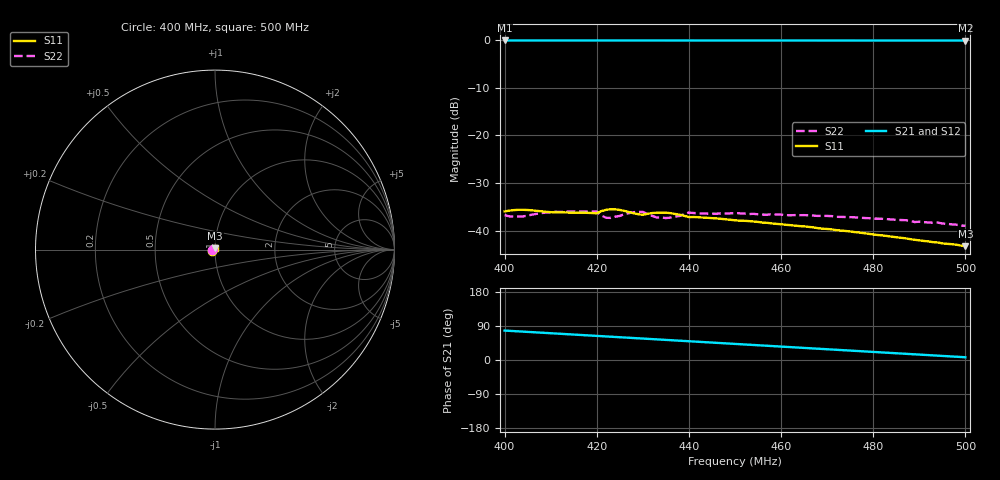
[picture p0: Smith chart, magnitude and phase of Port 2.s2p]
! RsaToolbox (C) 2014 Rohde & Schwarz America
! Number of points: 101
! Number of ports: 2
! Balanced ports?: No
# Hz S RI R 50
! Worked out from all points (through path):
!   101 points, 400 MHz to 500 MHz, reference 50 ohm
!   highest |S21| = -0.14 dB at 400 MHz (marker M1); lowest = -0.2 dB at 500 MHz (marker M2)
!   group delay of S21, straight-line fit = 1.96 ns
!   lowest |S11| = -43.2 dB at 500 MHz (marker M3), VSWR 1.01, Z = 50.1 + j0.689 ohm
!   |S11| at or under -10 dB: start of sweep to end of sweep
!   |S22| runs from -38.9 to -35.9 dB; largest |S21 - S12| = 0
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4e8  -0.0144 -0.00708  0.2098 0.9617  0.2098 0.9617  -0.0146 -0.000773
4.04e8  -0.0158 -0.00535  0.2569 0.9501  0.2569 0.9501  -0.014 -0.0022
4.11e8  -0.0152 -0.00409  0.3375 0.9244  0.3375 0.9244  -0.0159 0.00106
4.17e8  -0.0153 -0.00256  0.4047 0.8968  0.4047 0.8968  -0.0159 0.00236
4.2e8  -0.0152 -0.00183  0.4375 0.8813  0.4375 0.8813  -0.0157 0.00306
4.21e8  -0.0161 -0.00114  0.4483 0.8758  0.4483 0.8758  -0.0144 0.00187
4.22e8  -0.0166 -0.000397  0.459 0.8702  0.459 0.8702  -0.0138 0.000737
4.25e8  -0.0166 0.00145  0.4908 0.8526  0.4908 0.8526  -0.0144 -0.000499
4.29e8  -0.0149 0.00119  0.532 0.8274  0.532 0.8274  -0.0155 0.00357
4.3e8  -0.0148 0.000675  0.5422 0.8208  0.5422 0.8208  -0.015 0.0051
4.33e8  -0.0154 0.00173  0.5721 0.8002  0.5721 0.8002  -0.0132 0.00436
4.34e8  -0.0155 0.0021  0.5818 0.7931  0.5818 0.7931  -0.0132 0.00429
4.35e8  -0.0154 0.00244  0.5915 0.7859  0.5915 0.7859  -0.0129 0.00441
4.38e8  -0.0145 0.00307  0.6201 0.7635  0.6201 0.7635  -0.0134 0.00524
4.4e8  -0.0136 0.00306  0.6386 0.748  0.6386 0.748  -0.014 0.00687
4.44e8  -0.0132 0.00402  0.6746 0.7156  0.6746 0.7156  -0.0133 0.00725
4.5e8  -0.0119 0.00511  0.7254 0.6638  0.7254 0.6638  -0.0129 0.00837
4.67e8  -0.00791 0.00754  0.8471 0.4987  0.8471 0.4987  -0.0105 0.01
4.84e8  -0.00323 0.00812  0.932 0.3119  0.932 0.3119  -0.00785 0.0106
4.89e8  -0.0018 0.0079  0.9493 0.254  0.9493 0.254  -0.00688 0.0103
4.94e8  -0.000505 0.00757  0.963 0.1951  0.963 0.1951  -0.0063 0.0105
5e8  0.000976 0.00688  0.9747 0.1237  0.9747 0.1237  -0.00526 0.0101
